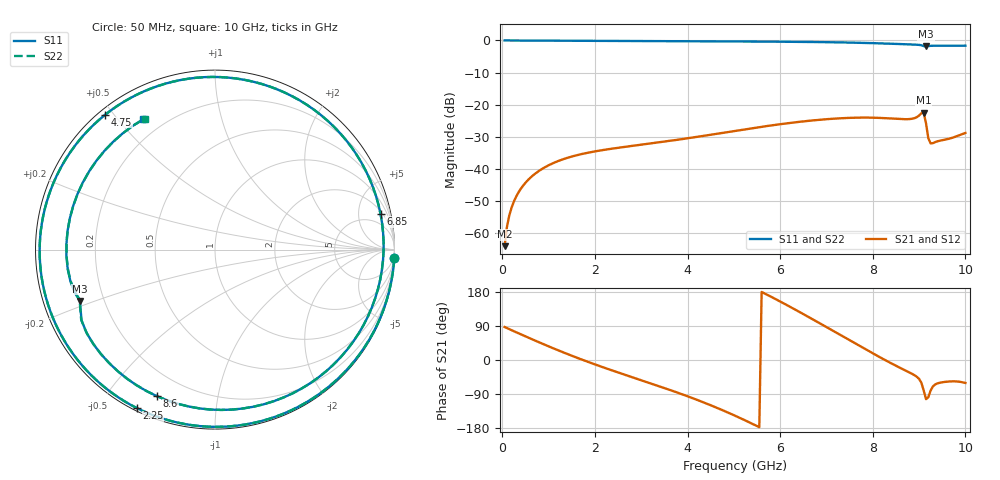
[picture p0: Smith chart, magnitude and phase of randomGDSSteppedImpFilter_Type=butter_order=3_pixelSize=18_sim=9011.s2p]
! freq	dB(S11)	phase(S11)	dB(S12)	phase(S12)
!  dB(S21)	phase(S21)	dB(S22)	phase(S22)
!S-par simulation data
#  GHz  S  DB  R 50
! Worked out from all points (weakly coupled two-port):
!   200 points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, 50 MHz to 10 GHz, reference 50 ohm
!   highest |S21| = -22.52 dB at 9.1 GHz (marker M1); lowest = -64.0 dB at 50 MHz (marker M2)
!   lowest |S11| = -1.9 dB at 9.15 GHz (marker M3), VSWR 9.27, Z = 5.57 - j9.08 ohm
!   |S11| at or under -10 dB: nowhere
!   |S22| runs from -1.9 to 0.0 dB; largest |S21 - S12| = 0
!   S11 on the Smith chart (normalised r, x): 50 MHz: 0, -41; 2.25 GHz: 0.01, -0.62; 4.75 GHz: 0.02, +0.48; 6.85 GHz: 2.39, +8.70; 8.6 GHz: 0.09, -0.68; 10 GHz: 0.13, +0.58
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0.05  -0.00 -2.8  -64.04 87.1  -64.04 87.1  -0.00 -2.8
0.1  -0.01 -5.6  -58.04 84.3  -58.04 84.3  -0.01 -5.6
0.2  -0.02 -11.1  -52.07 78.7  -52.07 78.7  -0.02 -11.1
0.5  -0.04 -27.5  -44.31 62.4  -44.31 62.4  -0.04 -27.5
1.15  -0.08 -62.1  -37.87 28.4  -37.87 28.4  -0.08 -62.1
1.75  -0.11 -92.4  -35.25 -0.4  -35.25 -0.4  -0.11 -92.4
2.25  -0.14 -116.2  -33.94 -22.4  -33.94 -22.4  -0.14 -116.3
3.4  -0.19 -168.5  -31.70 -69.8  -31.70 -69.8  -0.19 -168.5
4.05  -0.23 162.1  -30.36 -98.0  -30.36 -98.0  -0.23 162.1
4.75  -0.27 129.1  -28.78 -132.2  -28.78 -132.2  -0.27 129.1
5.05  -0.30 114.2  -28.10 -148.3  -28.10 -148.3  -0.30 114.2
5.85  -0.37 71.7  -26.37 164.0  -26.37 164.0  -0.37 71.6
6.7  -0.48 21.6  -24.90 107.6  -24.90 107.6  -0.48 21.5
6.85  -0.51 12.2  -24.70 97.3  -24.70 97.3  -0.51 12.2
7.55  -0.68 -33.6  -24.07 48.6  -24.07 48.6  -0.68 -33.7
8.35  -1.00 -91.5  -24.26 -5.6  -24.26 -5.6  -1.00 -91.8
8.6  -1.12 -111.5  -24.47 -21.3  -24.47 -21.3  -1.13 -111.8
9.1  -1.75 -156.5  -22.52 -80.6  -22.52 -80.6  -1.76 -157.0
9.15  -1.88 -159.2  -25.83 -103.4  -25.83 -103.4  -1.90 -159.7
9.25  -1.67 -167.5  -32.06 -80.3  -32.06 -80.3  -1.68 -168.0
9.6  -1.66 158.1  -30.77 -57.2  -30.77 -57.2  -1.66 157.5
10  -1.63 118.9  -28.80 -60.5  -28.80 -60.5  -1.63 118.2
